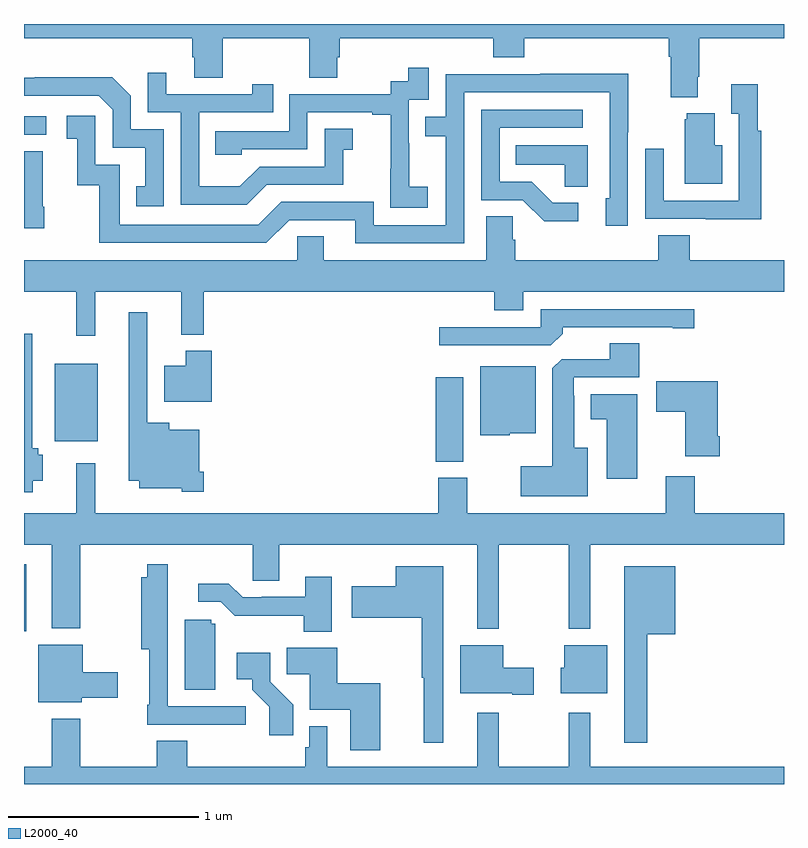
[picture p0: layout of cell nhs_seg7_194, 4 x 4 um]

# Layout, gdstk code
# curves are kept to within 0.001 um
import gdstk
lib = gdstk.Library(unit=1e-6, precision=1e-09)
def R(c, l, rs):  # rectangles x0, y0, x1, y1
    for r in rs: c.add(gdstk.rectangle(r[:2], r[2:], *l))
def P(c, l, *ps):  # polygons
    for p in ps: c.add(gdstk.Polygon(p, *l))
L2000_40 = (2000, 40)

nhs_seg7_194 = lib.new_cell('nhs_seg7_194')
R(nhs_seg7_194, L2000_40, [(125,1022.804,125.011,1023.157), (127.166,1023.697,127.312,1024.141), (125.162,1023.803,125.389,1024.213), (125,1025.418,125.116,1025.514)])
P(nhs_seg7_194, L2000_40, [(128.545,1025.722),(128.553,1025.722),(128.553,1025.924),(129,1025.924),(129,1026),(125,1026),(125,1025.924),(125.885,1025.924),(125.885,1025.826),(125.897,1025.826),(125.897,1025.716),(126.045,1025.716),(126.045,1025.924),(126.502,1025.924),(126.502,1025.716),(126.649,1025.716),(126.649,1025.826),(126.662,1025.826),(126.662,1025.924),(127.469,1025.924),(127.469,1025.825),(127.634,1025.825),(127.634,1025.924),(128.393,1025.924),(128.393,1025.828),(128.405,1025.828),(128.405,1025.615),(128.545,1025.615)],
  [(127.126,1025.143),(127.028,1025.143),(127.028,1025.372),(127.026,1025.372),(127.026,1025.601),(127.131,1025.601),(127.131,1025.77),(127.023,1025.77),(127.023,1025.7),(126.93,1025.7),(126.93,1025.631),(126.396,1025.631),(126.396,1025.436),(126.007,1025.436),(126.007,1025.313),(126.147,1025.313),(126.147,1025.34),(126.492,1025.34),(126.492,1025.535),(126.833,1025.535),(126.833,1025.523),(126.929,1025.523),(126.929,1025.239),(126.928,1025.239),(126.928,1025.033),(127.126,1025.033)],
  [(126.277,1025.154),(126.681,1025.154),(126.681,1025.339),(126.73,1025.339),(126.73,1025.449),(126.582,1025.449),(126.582,1025.25),(126.24,1025.25),(126.136,1025.146),(125.922,1025.146),(125.922,1025.535),(126.311,1025.535),(126.311,1025.683),(126.2,1025.683),(126.2,1025.631),(125.749,1025.631),(125.749,1025.743),(125.652,1025.743),(125.652,1025.535),(125.826,1025.535),(125.826,1025.049),(126.172,1025.049)],
  [(127.317,1025.64),(128.082,1025.64),(128.082,1025.082),(128.063,1025.082),(128.063,1024.938),(128.178,1024.938),(128.178,1025.431),(128.181,1025.431),(128.181,1025.738),(127.717,1025.738),(127.717,1025.736),(127.221,1025.736),(127.221,1025.511),(127.111,1025.511),(127.111,1025.41),(127.221,1025.41),(127.221,1024.941),(126.84,1024.941),(126.84,1025.064),(126.354,1025.064),(126.234,1024.944),(125.505,1024.944),(125.505,1025.259),(125.376,1025.259),(125.376,1025.518),(125.226,1025.518),(125.226,1025.397),(125.279,1025.397),(125.279,1025.151),(125.397,1025.151),(125.397,1024.848),(126.276,1024.848),(126.396,1024.968),(126.743,1024.968),(126.743,1024.845),(127.317,1024.845)],
  [(125.736,1025.445),(125.562,1025.445),(125.562,1025.622),(125.464,1025.72),(125.056,1025.72),(125.056,1025.718),(125,1025.718),(125,1025.622),(125.394,1025.622),(125.466,1025.55),(125.466,1025.349),(125.639,1025.349),(125.639,1025.145),(125.59,1025.145),(125.59,1025.04),(125.736,1025.04)],
  [(128.879,1025.438),(128.861,1025.438),(128.861,1025.683),(128.723,1025.683),(128.723,1025.527),(128.763,1025.527),(128.763,1025.07),(128.367,1025.07),(128.367,1025.344),(128.271,1025.344),(128.271,1024.974),(128.587,1024.974),(128.587,1024.973),(128.879,1024.973)],
  [(127.918,1025.058),(127.783,1025.058),(127.672,1025.169),(127.503,1025.169),(127.503,1025.454),(127.942,1025.454),(127.942,1025.55),(127.407,1025.55),(127.407,1025.073),(127.626,1025.073),(127.739,1024.961),(127.918,1024.961)],
  [(128.674,1025.362),(128.635,1025.362),(128.635,1025.53),(128.489,1025.53),(128.489,1025.499),(128.477,1025.499),(128.477,1025.159),(128.674,1025.159)],
  [(127.966,1025.362),(127.588,1025.362),(127.588,1025.258),(127.845,1025.258),(127.845,1025.143),(127.966,1025.143)],
  [(125.106,1025.038),(125.098,1025.038),(125.098,1025.329),(125,1025.329),(125,1024.926),(125.106,1024.926)],
  [(127.475,1024.493),(127.627,1024.493),(127.627,1024.592),(129,1024.592),(129,1024.756),(128.504,1024.756),(128.504,1024.889),(128.339,1024.889),(128.339,1024.756),(127.586,1024.756),(127.586,1024.865),(127.572,1024.865),(127.572,1024.988),(127.433,1024.988),(127.433,1024.756),(126.577,1024.756),(126.577,1024.883),(126.438,1024.883),(126.438,1024.756),(125,1024.756),(125,1024.592),(125.275,1024.592),(125.275,1024.359),(125.375,1024.359),(125.375,1024.592),(125.828,1024.592),(125.828,1024.364),(125.945,1024.364),(125.945,1024.592),(127.475,1024.592)],
  [(127.835,1024.37),(127.835,1024.404),(128.414,1024.404),(128.414,1024.399),(128.527,1024.399),(128.527,1024.5),(127.719,1024.5),(127.719,1024.404),(127.185,1024.404),(127.185,1024.308),(127.773,1024.308)],
  [(125.945,1023.643),(125.923,1023.643),(125.923,1023.865),(125.764,1023.865),(125.764,1023.901),(125.649,1023.901),(125.649,1024.483),(125.552,1024.483),(125.552,1023.596),(125.606,1023.596),(125.606,1023.557),(125.829,1023.557),(125.829,1023.539),(125.945,1023.539)],
  [(125.046,1023.596),(125.098,1023.596),(125.098,1023.732),(125.076,1023.732),(125.076,1023.767),(125.043,1023.767),(125.043,1024.371),(125,1024.371),(125,1023.536),(125.046,1023.536)],
  [(127.966,1023.769),(127.897,1023.769),(127.897,1024.043),(127.893,1024.043),(127.893,1024.14),(128.237,1024.14),(128.237,1024.319),(128.084,1024.319),(128.084,1024.236),(127.83,1024.236),(127.781,1024.187),(127.781,1023.673),(127.614,1023.673),(127.614,1023.515),(127.966,1023.515)],
  [(125.987,1024.279),(125.852,1024.279),(125.852,1024.201),(125.738,1024.201),(125.738,1024.013),(125.987,1024.013)],
  [(127.557,1023.845),(127.693,1023.845),(127.693,1024.198),(127.4,1024.198),(127.4,1023.836),(127.557,1023.836)],
  [(128.663,1023.829),(128.65,1023.829),(128.65,1024.12),(128.328,1024.12),(128.328,1023.958),(128.48,1023.958),(128.48,1023.725),(128.663,1023.725)],
  [(128.227,1024.051),(127.982,1024.051),(127.982,1023.92),(128.066,1023.92),(128.066,1023.606),(128.227,1023.606)],
  [(127.499,1023.26),(127.867,1023.26),(127.867,1022.816),(127.981,1022.816),(127.981,1023.26),(129,1023.26),(129,1023.424),(128.531,1023.424),(128.531,1023.619),(128.378,1023.619),(128.378,1023.424),(127.333,1023.424),(127.333,1023.612),(127.181,1023.612),(127.181,1023.424),(125.376,1023.424),(125.376,1023.688),(125.275,1023.688),(125.275,1023.424),(125,1023.424),(125,1023.26),(125.147,1023.26),(125.147,1022.819),(125.295,1022.819),(125.295,1023.26),(126.204,1023.26),(126.204,1023.07),(126.343,1023.07),(126.343,1023.26),(127.385,1023.26),(127.385,1022.816),(127.499,1022.816)],
  [(126.166,1022.409),(125.757,1022.409),(125.757,1023.157),(125.649,1023.157),(125.649,1023.088),(125.617,1023.088),(125.617,1022.708),(125.66,1022.708),(125.66,1022.416),(125.649,1022.416),(125.649,1022.313),(125.941,1022.313),(125.941,1022.311),(126.166,1022.311)],
  [(127.207,1023.145),(126.956,1023.145),(126.956,1023.04),(126.726,1023.04),(126.726,1022.875),(127.093,1022.875),(127.093,1022.558),(127.103,1022.558),(127.103,1022.217),(127.207,1022.217)],
  [(128.281,1022.789),(128.428,1022.789),(128.428,1023.145),(128.159,1023.145),(128.159,1022.217),(128.281,1022.217)],
  [(126.619,1023.091),(126.479,1023.091),(126.479,1022.985),(126.25,1022.985),(126.25,1022.982),(126.15,1022.982),(126.077,1023.055),(125.916,1023.055),(125.916,1022.958),(126.036,1022.958),(126.109,1022.885),(126.472,1022.886),(126.472,1022.801),(126.619,1022.801)],
  [(126.007,1022.844),(125.985,1022.844),(125.985,1022.865),(125.846,1022.865),(125.846,1022.496),(126.007,1022.496)],
  [(125.304,1022.453),(125.494,1022.453),(125.494,1022.588),(125.308,1022.588),(125.308,1022.734),(125.075,1022.734),(125.075,1022.429),(125.304,1022.429)],
  [(128.071,1022.731),(127.844,1022.731),(127.844,1022.613),(127.826,1022.613),(127.826,1022.477),(128.071,1022.477)],
  [(127.684,1022.612),(127.522,1022.612),(127.522,1022.731),(127.295,1022.731),(127.295,1022.477),(127.571,1022.477),(127.571,1022.47),(127.684,1022.47)],
  [(126.874,1022.53),(126.648,1022.53),(126.648,1022.716),(126.382,1022.716),(126.382,1022.578),(126.503,1022.578),(126.503,1022.39),(126.716,1022.39),(126.716,1022.178),(126.874,1022.178)],
  [(126.416,1022.418),(126.297,1022.537),(126.297,1022.692),(126.12,1022.692),(126.12,1022.552),(126.2,1022.552),(126.2,1022.497),(126.291,1022.407),(126.291,1022.256),(126.416,1022.256)],
  [(129,1022.092),(127.981,1022.092),(127.981,1022.374),(127.867,1022.374),(127.867,1022.092),(127.499,1022.092),(127.499,1022.374),(127.385,1022.374),(127.385,1022.092),(126.597,1022.092),(126.597,1022.305),(126.501,1022.305),(126.501,1022.193),(126.481,1022.193),(126.481,1022.092),(125.858,1022.092),(125.858,1022.228),(125.698,1022.228),(125.698,1022.092),(125.295,1022.092),(125.295,1022.344),(125.147,1022.344),(125.147,1022.092),(125,1022.092),(125,1022),(129,1022)])

lib.write_gds('nhs_seg7_194.gds')
